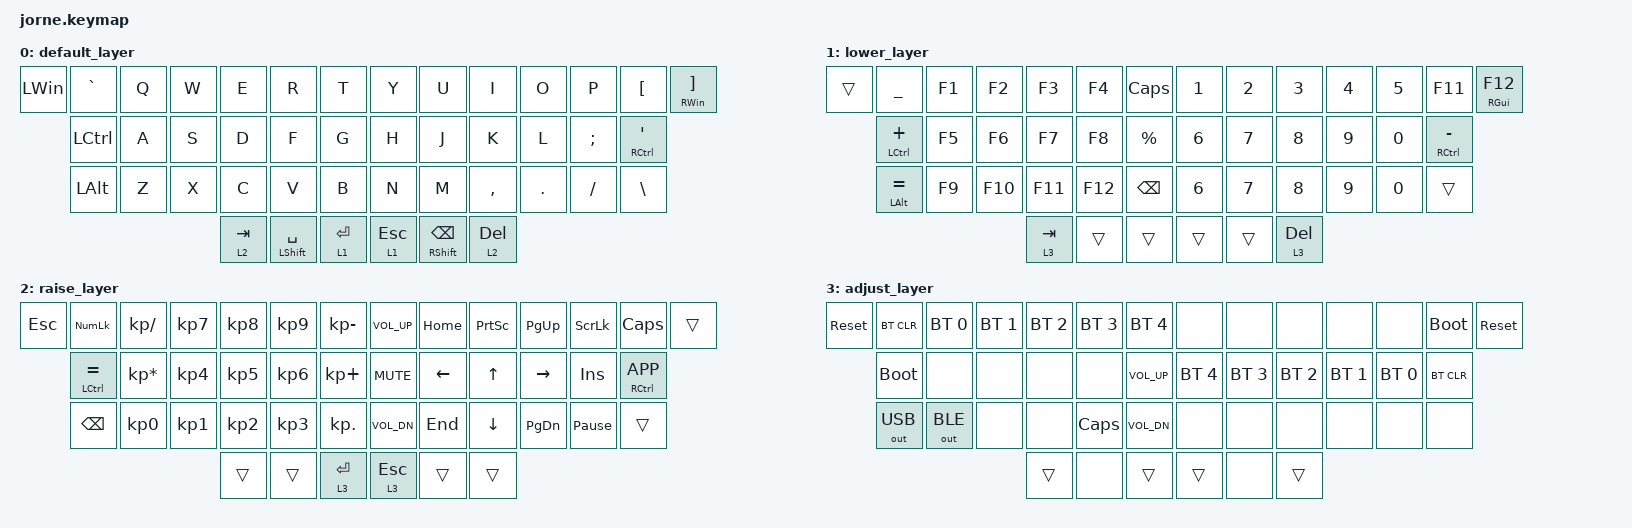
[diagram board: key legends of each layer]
/*
 * Copyright (c) 2020 The ZMK Contributors
 *
 * SPDX-License-Identifier: MIT
 */

#include <behaviors.dtsi>
#include <dt-bindings/zmk/bt.h>
#include <dt-bindings/zmk/keys.h>
#include <dt-bindings/zmk/outputs.h>

#define DEF 0
#define LWR 1
#define RSE 2
#define ADJ 3

/ {
    combos {
        compatible = "zmk,combos";

        combo_esc {
            bindings = <&kp ESC>;
            key-positions = <1 2>;
        };
    };

    macros {
        macro_zmk: macro_zmk {
            compatible = "zmk,behavior-macro";
            label = "new_macro";
            #binding-cells = <0>;
            bindings =
                <&macro_press>,
                <&kp LEFT_SHIFT>,
                <&macro_tap>,
                <&kp Z &kp M &kp K>,
                <&macro_release>,
                <&kp LEFT_SHIFT>;
        };
    };

    keymap {
        compatible = "zmk,keymap";

        default_layer {
            // -----------------------------------------------------------------------------------------
            // |  GUI |   ~  |  Q  |  W  |  E  |  R  |  T  |   |  Y  |  U   |  I  |  O  |  P  |  [   | GUI/] |
            //        | CTRL |  A  |  S  |  D  |  F  |  G  |   |  H  |  J   |  K  |  L  |  ;  |CTRL/'|
            //        | LALT |  Z  |  X  |  C  |  V  |  B  |   |  N  |  M   |  ,  |  .  |  /  | RALT |
            //                           | RSE | SPC | LWR |   | LWR | BKSP | RSE |

            bindings = <
&kp LWIN  &kp GRAVE  &kp Q  &kp W      &kp E            &kp R        &kp T      &kp Y           &kp U      &kp I    &kp O     &kp P       &kp LBKT  &mt RWIN RBKT
          &kp LCTRL  &kp A  &kp S      &kp D            &kp F        &kp G      &kp H           &kp J      &kp K    &kp L  &kp SEMI  &mt RCTRL SQT
           &kp LALT  &kp Z  &kp X      &kp C            &kp V        &kp B      &kp N           &kp M  &kp COMMA  &kp DOT  &kp FSLH       &kp BSLH
                                   &lt 2 TAB  &mt LSHFT SPACE  &lt 1 ENTER  &lt 1 ESC  &mt RSHFT BSPC  &lt 2 DEL
            >;
        };

        lower_layer {
            // -----------------------------------------------------------------------------------------
            // |     |  _  |  F1 |  F2 |  F3 |  F4 |  F5 |   |  F6 |  F7 |  F8 |  F9 | F10 | F11 | F12 |
            //       |  +  |  !  |  @  |  #  |  $  |  %  |   |  ^  |  &  |  *  |  (  |  )  |  -  |
            //       |  =  |  1  |  2  |  3  |  4  |  5  |   |  6  |  7  |  8  |  9  |  0  |     |
            //                    | GUI |     | SPC |   | ENT |     | ALT |

            bindings = <
&trans       &kp UNDER  &kp F1   &kp F2     &kp F3   &kp F4       &kp CAPS  &kp N1  &kp N2     &kp N3  &kp N4  &kp N5          &kp F11  &mt RGUI F12
        &mt LCTRL PLUS  &kp F5   &kp F6     &kp F7   &kp F8      &kp PRCNT  &kp N6  &kp N7     &kp N8  &kp N9  &kp N0  &mt RCTRL MINUS
        &mt LALT EQUAL  &kp F9  &kp F10    &kp F11  &kp F12  &kp BACKSPACE  &kp N6  &kp N7     &kp N8  &kp N9  &kp N0           &trans
                                         &lt 3 TAB   &trans         &trans  &trans  &trans  &lt 3 DEL
            >;
        };

        raise_layer {
            // -----------------------------------------------------------------------------------------
            // |     | NMLK |  /  |  7  |  8  |  9  |  -  |   | VOLU| HOME| PRSC| PGUP| SCLK| CLCK|     |
            //       | CTRL |  *  |  4  |  5  |  6  |  +  |   | MUT | LEFT|  UP | RGHT| INS | APP |
            //       |      |  0  |  1  |  2  |  3  |  .  |   | VOLD| END | DOWN| PGDN| PAUS|     |
            //                          |     |     | ADJ |   | ADJ |     |     |

            bindings = <
&kp ESC       &kp KP_NUM     &kp KP_SLASH  &kp KP_N7  &kp KP_N8  &kp KP_N9  &kp KP_MINUS  &kp C_VOL_UP  &kp HOME  &kp PSCRN  &kp PG_UP         &kp SLCK         &kp CAPS  &trans
         &mt LCTRL EQUAL  &kp KP_MULTIPLY  &kp KP_N4  &kp KP_N5  &kp KP_N6   &kp KP_PLUS    &kp C_MUTE  &kp LEFT     &kp UP  &kp RIGHT          &kp INS  &mt RCTRL K_APP
           &kp BACKSPACE        &kp KP_N0  &kp KP_N1  &kp KP_N2  &kp KP_N3    &kp KP_DOT  &kp C_VOL_DN   &kp END   &kp DOWN  &kp PG_DN  &kp PAUSE_BREAK           &trans
                                                         &trans     &trans     &lt 3 RET     &lt 3 ESC    &trans     &trans
            >;
        };

        adjust_layer {
            // -----------------------------------------------------------------------------------------
            // | RST | BLDR |     |     |     |     |     |   |     |     |     |     |     | BLDR | RST |
            //       | BTCLR| BT0 | BT1 | BT2 | BT3 | BT4 |   | BT4 | BT3 | BT2 | BT1 | BT0 | BTCLR|
            //       |      |     |     |     |     |     |   |     |     |     |     |     |      |
            //                          |     |     |     |   |     |     |     |

            bindings = <
&sys_reset    &bt BT_CLR  &bt BT_SEL 0  &bt BT_SEL 1  &bt BT_SEL 2  &bt BT_SEL 3  &bt BT_SEL 4         &none         &none         &none         &none         &none  &bootloader  &sys_reset
             &bootloader         &none         &none         &none         &none  &kp C_VOL_UP  &bt BT_SEL 4  &bt BT_SEL 3  &bt BT_SEL 2  &bt BT_SEL 1  &bt BT_SEL 0   &bt BT_CLR
            &out OUT_USB  &out OUT_BLE         &none         &none  &kp CAPSLOCK  &kp C_VOL_DN         &none         &none         &none         &none         &none        &none
                                                            &trans         &none        &trans        &trans         &none        &trans
            >;
        };
    };
};
